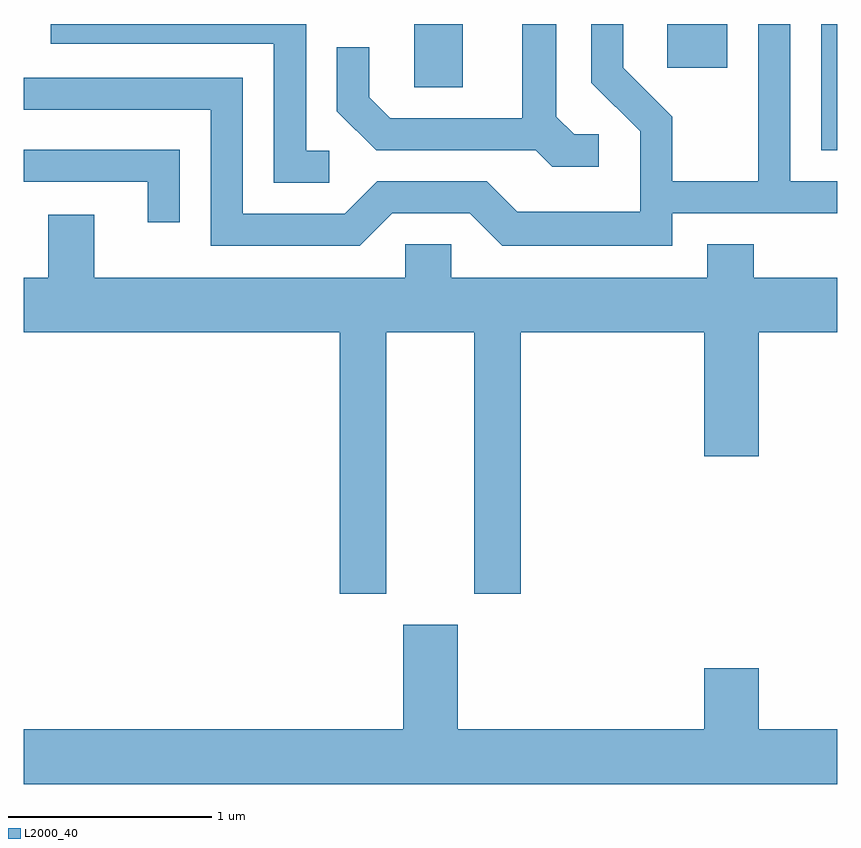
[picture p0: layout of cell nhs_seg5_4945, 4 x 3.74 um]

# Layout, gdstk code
import gdstk
lib = gdstk.Library(unit=1e-6, precision=1e-09)
def R(c, l, rs):  # rectangles x0, y0, x1, y1
    for r in rs: c.add(gdstk.rectangle(r[:2], r[2:], *l))
def P(c, l, *ps):  # polygons
    for p in ps: c.add(gdstk.Polygon(p, *l))
L2000_40 = (2000, 40)

nhs_seg5_4945 = lib.new_cell('nhs_seg5_4945')
R(nhs_seg5_4945, L2000_40, [(335.531,1475.451,335.611,1476.072), (333.531,1475.761,333.769,1476.072), (334.776,1475.856,335.069,1476.072)])
P(nhs_seg5_4945, L2000_40, [(333.113,1475.449),(332.999,1475.449),(332.999,1476.072),(331.743,1476.072),(331.743,1475.976),(332.841,1475.976),(332.841,1475.291),(333.113,1475.291)],
  [(333.422,1475.141),(333.804,1475.141),(333.964,1474.981),(334.799,1474.981),(334.799,1475.141),(335.611,1475.141),(335.611,1475.299),(335.379,1475.299),(335.379,1476.072),(335.221,1476.072),(335.221,1475.299),(334.799,1475.299),(334.799,1475.617),(334.559,1475.857),(334.559,1476.072),(334.401,1476.072),(334.401,1475.784),(334.641,1475.544),(334.641,1475.149),(334.037,1475.149),(333.887,1475.299),(333.349,1475.299),(333.189,1475.139),(332.689,1475.139),(332.689,1475.809),(331.611,1475.809),(331.611,1475.651),(332.531,1475.651),(332.531,1474.981),(333.262,1474.981)],
  [(334.438,1475.529),(334.317,1475.529),(334.229,1475.617),(334.229,1476.072),(334.061,1476.072),(334.061,1475.609),(333.412,1475.609),(333.309,1475.712),(333.309,1475.958),(333.151,1475.958),(333.151,1475.644),(333.344,1475.451),(334.129,1475.451),(334.209,1475.371),(334.438,1475.371)],
  [(332.379,1475.454),(331.611,1475.454),(331.611,1475.296),(332.221,1475.296),(332.221,1475.098),(332.379,1475.098)],
  [(333.394,1474.556),(333.826,1474.556),(333.826,1473.271),(334.054,1473.271),(334.054,1474.556),(334.956,1474.556),(334.956,1473.946),(335.224,1473.946),(335.224,1474.556),(335.611,1474.556),(335.611,1474.824),(335.199,1474.824),(335.199,1474.989),(334.971,1474.989),(334.971,1474.824),(333.714,1474.824),(333.714,1474.989),(333.486,1474.989),(333.486,1474.824),(331.959,1474.824),(331.959,1475.134),(331.731,1475.134),(331.731,1474.824),(331.611,1474.824),(331.611,1474.556),(333.166,1474.556),(333.166,1473.271),(333.394,1473.271)],
  [(335.611,1472.604),(335.224,1472.604),(335.224,1472.904),(334.956,1472.904),(334.956,1472.604),(333.744,1472.604),(333.744,1473.119),(333.476,1473.119),(333.476,1472.604),(331.611,1472.604),(331.611,1472.336),(335.611,1472.336)])

lib.write_gds('nhs_seg5_4945.gds')
